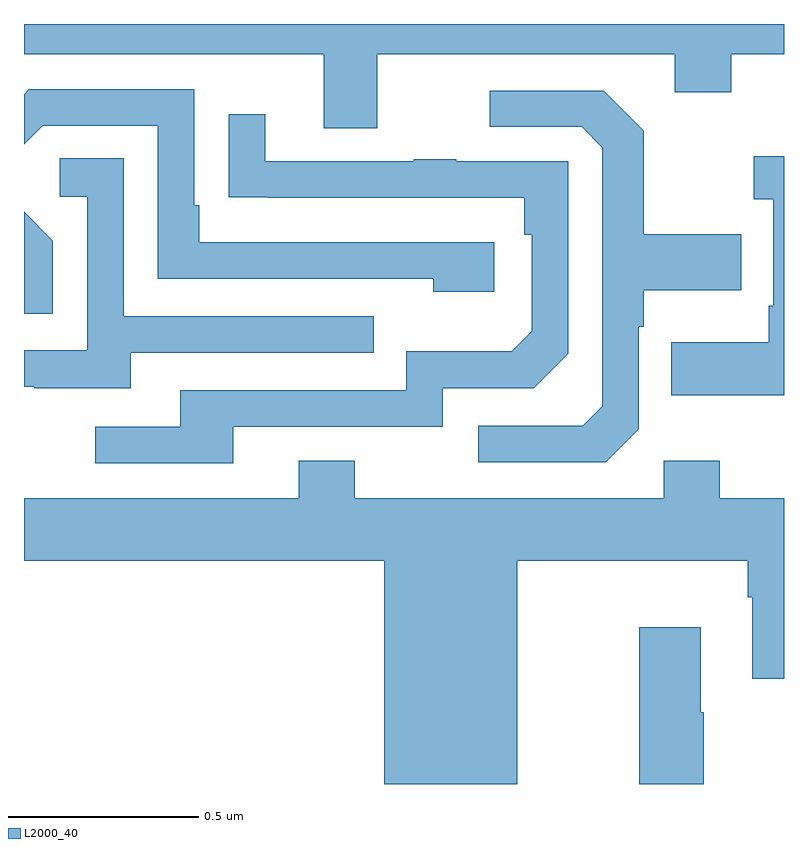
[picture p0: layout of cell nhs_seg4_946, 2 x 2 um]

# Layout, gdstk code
import gdstk
lib = gdstk.Library(unit=1e-6, precision=1e-09)
def P(c, l, *ps):  # polygons
    for p in ps: c.add(gdstk.Polygon(p, *l))
L2000_40 = (2000, 40)

nhs_seg4_946 = lib.new_cell('nhs_seg4_946')
P(nhs_seg4_946, L2000_40, [(122.929,796.82),(123.713,796.82),(123.713,796.721),(123.861,796.721),(123.861,796.82),(124,796.82),(124,796.9),(122,796.9),(122,796.82),(122.789,796.82),(122.789,796.626),(122.929,796.626)],
  [(123.238,796.326),(122.461,796.326),(122.461,796.423),(122.448,796.423),(122.448,796.728),(122.013,796.728),(122,796.715),(122,796.583),(122.049,796.632),(122.352,796.632),(122.352,796.23),(123.077,796.23),(123.077,796.196),(123.238,796.196)],
  [(123.618,795.834),(123.618,796.103),(123.631,796.103),(123.631,796.199),(123.887,796.199),(123.887,796.347),(123.631,796.347),(123.631,796.619),(123.525,796.725),(123.225,796.725),(123.225,796.629),(123.468,796.629),(123.522,796.575),(123.522,795.894),(123.471,795.843),(123.195,795.843),(123.195,795.747),(123.531,795.747)],
  [(122.551,795.84),(123.102,795.84),(123.102,795.942),(123.342,795.942),(123.432,796.032),(123.432,796.539),(123.137,796.539),(123.137,796.544),(123.025,796.544),(123.025,796.539),(122.635,796.539),(122.635,796.663),(122.539,796.663),(122.539,796.444),(122.641,796.444),(122.641,796.443),(123.316,796.443),(123.316,796.346),(123.336,796.346),(123.336,796.092),(123.283,796.039),(123.006,796.039),(123.006,795.936),(122.411,795.936),(122.411,795.84),(122.187,795.84),(122.187,795.744),(122.551,795.744)],
  [(124,796.552),(123.921,796.552),(123.921,796.439),(123.972,796.439),(123.972,796.159),(123.96,796.159),(123.96,796.063),(123.703,796.063),(123.703,795.923),(124,795.923)],
  [(122.281,796.035),(122.921,796.035),(122.921,796.131),(122.262,796.131),(122.262,796.547),(122.094,796.547),(122.094,796.446),(122.166,796.446),(122.166,796.041),(122,796.041),(122,795.945),(122.027,795.945),(122.027,795.941),(122.281,795.941)],
  [(122.076,796.33),(122,796.406),(122,796.137),(122.076,796.137)],
  [(123.298,795.488),(123.905,795.488),(123.905,795.392),(123.917,795.392),(123.917,795.177),(124,795.177),(124,795.652),(123.831,795.652),(123.831,795.751),(123.684,795.751),(123.684,795.652),(122.871,795.652),(122.871,795.751),(122.723,795.751),(122.723,795.652),(122,795.652),(122,795.488),(122.948,795.488),(122.948,794.9),(123.298,794.9)],
  [(123.789,795.089),(123.781,795.089),(123.781,795.313),(123.619,795.313),(123.619,794.9),(123.789,794.9)])

lib.write_gds('nhs_seg4_946.gds')
